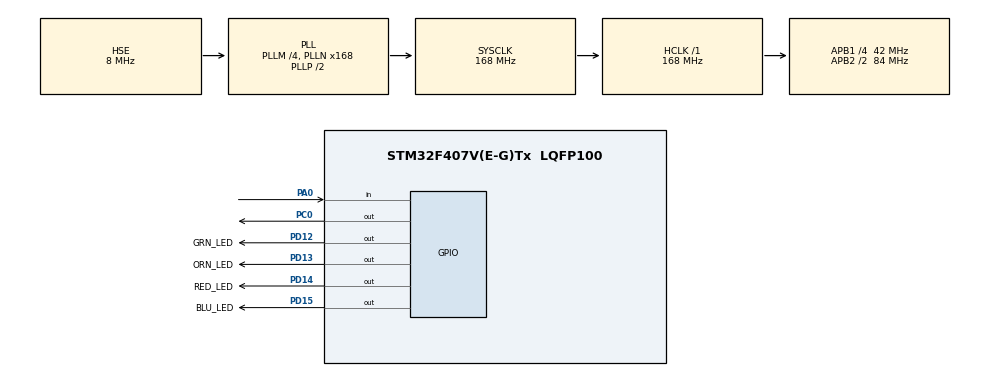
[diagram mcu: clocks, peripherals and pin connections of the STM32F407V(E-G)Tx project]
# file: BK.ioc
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Mcu.Family=STM32F4
Mcu.Name=STM32F407V(E-G)Tx
Mcu.Package=LQFP100
NVIC.PriorityGroup=NVIC_PRIORITYGROUP_0
NVIC.TIM2_IRQn=true\:0\:0\:false\:false\:true\:true\:true
PA0-WKUP.Signal=GPIO_Input
PC0.Signal=GPIO_Output
PD12.GPIO_Label=GRN_LED
PD12.Signal=GPIO_Output
PD13.GPIO_Label=ORN_LED
PD13.Signal=GPIO_Output
PD14.GPIO_Label=RED_LED
PD14.Signal=GPIO_Output
PD15.GPIO_Label=BLU_LED
PD15.Signal=GPIO_Output
PH0-OSC_IN.Mode=HSE-External-Oscillator
PH0-OSC_IN.Signal=RCC_OSC_IN
PH1-OSC_OUT.Mode=HSE-External-Oscillator
PH1-OSC_OUT.Signal=RCC_OSC_OUT
ProjectManager.HeapSize=0x200
ProjectManager.StackSize=0x400
ProjectManager.TargetToolchain=STM32CubeIDE
RCC.48MHZClocksFreq_Value=48000000
RCC.AHBFreq_Value=168000000
RCC.APB1CLKDivider=RCC_HCLK_DIV4
RCC.APB1Freq_Value=42000000
RCC.APB1TimFreq_Value=84000000
RCC.APB2CLKDivider=RCC_HCLK_DIV2
RCC.APB2Freq_Value=84000000
RCC.APB2TimFreq_Value=168000000
RCC.CortexFreq_Value=168000000
RCC.HCLKFreq_Value=168000000
RCC.HSE_VALUE=8000000
RCC.HSI_VALUE=16000000
RCC.LSE_VALUE=32768
RCC.PLLM=4
RCC.PLLN=168
RCC.PLLQ=7
RCC.PLLSourceVirtual=RCC_PLLSOURCE_HSE
RCC.SYSCLKFreq_VALUE=168000000
RCC.SYSCLKSource=RCC_SYSCLKSOURCE_PLLCLK
RCC.VCOOutputFreq_Value=336000000
TIM2.Period=1
TIM2.Prescaler=42000
VP_TIM2_VS_ClockSourceINT.Mode=Internal
board=STM32F407G-DISC1

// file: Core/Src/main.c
/* USER CODE BEGIN Header */
/**
  ******************************************************************************
  * @file           : main.c
  * @brief          : Main program body
  ******************************************************************************
  * @attention
  *
  * <h2><center>&copy; Copyright (c) 2020 STMicroelectronics.
  * All rights reserved.</center></h2>
  *
  * This software component is licensed by ST under Ultimate Liberty license
  * SLA0044, the "License"; You may not use this file except in compliance with
  * the License. You may obtain a copy of the License at:
  *                             www.st.com/SLA0044
  *
  ******************************************************************************
  */
/* USER CODE END Header */
#include "main.h"

TIM_HandleTypeDef htim2;

/* USER CODE BEGIN PV */
// ------------ Utility Timer Variables
uint16_t B1dbTimer;
uint8_t B1Pressed_F;
uint8_t B1ActionTaken_F;
uint16_t B1HoldTime;

// msec Timing: Make utility timers 16-bit
uint16_t TestTimer;

// sec Timing
uint16_t SecsCounter;

/* USER CODE END PV */

void SystemClock_Config(void);
static void MX_GPIO_Init(void);
static void MX_TIM2_Init(void);

/* USER CODE BEGIN PFP */
void CheckSWs(void);

/* USER CODE END PFP */

int main(void)
{

  /* MCU Configuration--------------------------------------------------------*/

  /* Reset of all peripherals, Initializes the Flash interface and the Systick. */
  HAL_Init();

  /* Configure the system clock */
  SystemClock_Config();

  /* Initialize all configured peripherals */
  MX_GPIO_Init();
  MX_TIM2_Init();
  /* USER CODE BEGIN 2 */
  HAL_TIM_Base_Start_IT(&htim2);

  /* USER CODE END 2 */

  /* Infinite loop */
  while (1)
  {

    /* USER CODE BEGIN 3 */

//  		if (!TestTimer) {
//  			TestTimer = 500;
//  			GRN_LED_TOGGLE();
//  		}

  		CheckSWs();
  		UpdateLEDState();

  }
  /* USER CODE END 3 */
}

void SystemClock_Config(void)
{
  RCC_OscInitTypeDef RCC_OscInitStruct = {0};
  RCC_ClkInitTypeDef RCC_ClkInitStruct = {0};

  /** Configure the main internal regulator output voltage
  */
  __HAL_RCC_PWR_CLK_ENABLE();
  __HAL_PWR_VOLTAGESCALING_CONFIG(PWR_REGULATOR_VOLTAGE_SCALE1);
  /** Initializes the RCC Oscillators according to the specified parameters
  * in the RCC_OscInitTypeDef structure.
  */
  RCC_OscInitStruct.OscillatorType = RCC_OSCILLATORTYPE_HSE;
  RCC_OscInitStruct.HSEState = RCC_HSE_ON;
  RCC_OscInitStruct.PLL.PLLState = RCC_PLL_ON;
  RCC_OscInitStruct.PLL.PLLSource = RCC_PLLSOURCE_HSE;
  RCC_OscInitStruct.PLL.PLLM = 4;
  RCC_OscInitStruct.PLL.PLLN = 168;
  RCC_OscInitStruct.PLL.PLLP = RCC_PLLP_DIV2;
  RCC_OscInitStruct.PLL.PLLQ = 7;
  if (HAL_RCC_OscConfig(&RCC_OscInitStruct) != HAL_OK)
  {
    Error_Handler();
  }
  /** Initializes the CPU, AHB and APB buses clocks
  */
  RCC_ClkInitStruct.ClockType = RCC_CLOCKTYPE_HCLK|RCC_CLOCKTYPE_SYSCLK
                              |RCC_CLOCKTYPE_PCLK1|RCC_CLOCKTYPE_PCLK2;
  RCC_ClkInitStruct.SYSCLKSource = RCC_SYSCLKSOURCE_PLLCLK;
  RCC_ClkInitStruct.AHBCLKDivider = RCC_SYSCLK_DIV1;
  RCC_ClkInitStruct.APB1CLKDivider = RCC_HCLK_DIV4;
  RCC_ClkInitStruct.APB2CLKDivider = RCC_HCLK_DIV2;

  if (HAL_RCC_ClockConfig(&RCC_ClkInitStruct, FLASH_LATENCY_5) != HAL_OK)
  {
    Error_Handler();
  }
}

static void MX_TIM2_Init(void)
{

  TIM_ClockConfigTypeDef sClockSourceConfig = {0};
  TIM_MasterConfigTypeDef sMasterConfig = {0};

  htim2.Instance = TIM2;
  htim2.Init.Prescaler = 42000;
  htim2.Init.CounterMode = TIM_COUNTERMODE_UP;
  htim2.Init.Period = 1;
  htim2.Init.ClockDivision = TIM_CLOCKDIVISION_DIV1;
  htim2.Init.AutoReloadPreload = TIM_AUTORELOAD_PRELOAD_DISABLE;
  if (HAL_TIM_Base_Init(&htim2) != HAL_OK)
  {
    Error_Handler();
  }
  sClockSourceConfig.ClockSource = TIM_CLOCKSOURCE_INTERNAL;
  if (HAL_TIM_ConfigClockSource(&htim2, &sClockSourceConfig) != HAL_OK)
  {
    Error_Handler();
  }
  sMasterConfig.MasterOutputTrigger = TIM_TRGO_RESET;
  sMasterConfig.MasterSlaveMode = TIM_MASTERSLAVEMODE_DISABLE;
  if (HAL_TIMEx_MasterConfigSynchronization(&htim2, &sMasterConfig) != HAL_OK)
  {
    Error_Handler();
  }

}

static void MX_GPIO_Init(void)
{
  GPIO_InitTypeDef GPIO_InitStruct = {0};

  /* GPIO Ports Clock Enable */
  __HAL_RCC_GPIOH_CLK_ENABLE();
  __HAL_RCC_GPIOC_CLK_ENABLE();
  __HAL_RCC_GPIOA_CLK_ENABLE();
  __HAL_RCC_GPIOD_CLK_ENABLE();

  /*Configure GPIO pin Output Level */
  HAL_GPIO_WritePin(GPIOC, GPIO_PIN_0, GPIO_PIN_RESET);

  /*Configure GPIO pin Output Level */
  HAL_GPIO_WritePin(GPIOD, GRN_LED_Pin|ORN_LED_Pin|RED_LED_Pin|BLU_LED_Pin, GPIO_PIN_RESET);

  /*Configure GPIO pin : PC0 */
  GPIO_InitStruct.Pin = GPIO_PIN_0;
  GPIO_InitStruct.Mode = GPIO_MODE_OUTPUT_PP;
  GPIO_InitStruct.Pull = GPIO_NOPULL;
  GPIO_InitStruct.Speed = GPIO_SPEED_FREQ_LOW;
  HAL_GPIO_Init(GPIOC, &GPIO_InitStruct);

  /*Configure GPIO pin : PA0 */
  GPIO_InitStruct.Pin = GPIO_PIN_0;
  GPIO_InitStruct.Mode = GPIO_MODE_INPUT;
  GPIO_InitStruct.Pull = GPIO_NOPULL;
  HAL_GPIO_Init(GPIOA, &GPIO_InitStruct);

  /*Configure GPIO pins : GRN_LED_Pin ORN_LED_Pin RED_LED_Pin BLU_LED_Pin */
  GPIO_InitStruct.Pin = GRN_LED_Pin|ORN_LED_Pin|RED_LED_Pin|BLU_LED_Pin;
  GPIO_InitStruct.Mode = GPIO_MODE_OUTPUT_PP;
  GPIO_InitStruct.Pull = GPIO_NOPULL;
  GPIO_InitStruct.Speed = GPIO_SPEED_FREQ_LOW;
  HAL_GPIO_Init(GPIOD, &GPIO_InitStruct);

}

/* USER CODE BEGIN 4 */
// Use TIM2 as 1ms utility timer...
void HAL_TIM_PeriodElapsedCallback(TIM_HandleTypeDef *htim)
{
	// --------------------------------------------
	// Millisecond timers:
	// --------------------------------------------

	// These timers can be disabled... Set the timer to TIMER_DISABLE (Defined as 0xFFFFFF) and then
	if (TestTimer)
		TestTimer--;

	++SecsCounter;
	if ( SecsCounter == 1000)
	{
		SecsCounter = 0;

		// Handle any 1 sec events or counters...
//		BLU_LED_TOGGLE();
	}

	if ( B1 != BUTTON_PRESSED)
	{
		B1dbTimer = 0;
		B1Pressed_F = FALSE;
	}
	else
	{
		if (B1dbTimer < 255)
			++B1dbTimer;
		if ( B1dbTimer > DB_TIME )
			B1Pressed_F = TRUE;

	}

	if (LED_Timer)
	{
		LED_Timer--;
	}
}

void CheckSWs(void)
{
	if (B1Pressed_F && !B1ActionTaken_F)
	{
		// Take Press action here... PRESS
		LED_Start = TRUE;
		LED_Timer = 1000;

		// Set action taken flag so this won't keep happening
		B1ActionTaken_F = TRUE;

	// ELSE IF SW released THEN
	}
	else if ( !B1Pressed_F && (B1ActionTaken_F))
	{

		B1ActionTaken_F = FALSE;
	}
}

void UpdateLEDState(void)
{
	// Place "always" code here then check each state
	if (LED_State == LED_IDLE)
	{
		if (LED_Start)
		{
			LED_Start = FALSE;
			RED_LED_ON();
			LED_State = LED_RED;
			LED_Timer = 1000;
		}
	}
	else if ( LED_State == LED_RED )
	{
		if (!LED_Timer)
		{
			RED_LED_OFF();
			BLU_LED_ON();
			LED_State = LED_BLU;
			LED_Timer = 1000;
		}
	}
	else if (LED_State == LED_BLU)
	{
		if(!LED_Timer)
		{
			BLU_LED_OFF();
			ORN_LED_ON();
			LED_State = LED_ORN;
			LED_Timer = 1000;
		}
	}
	else if (LED_State == LED_ORN)
	{
		if (!LED_Timer)
		{
			ORN_LED_OFF();
			GRN_LED_ON();
			LED_State = LED_GRN;
			LED_Timer = 1000;
		}
	}
	else if (LED_State == LED_GRN)
	{
		if (!LED_Timer)
		{
			GRN_LED_OFF();
			LED_State = LED_IDLE;
		}
	}
}

/* USER CODE END 4 */

void Error_Handler(void)
{
}

/************************ (C) COPYRIGHT STMicroelectronics *****END OF FILE****/
